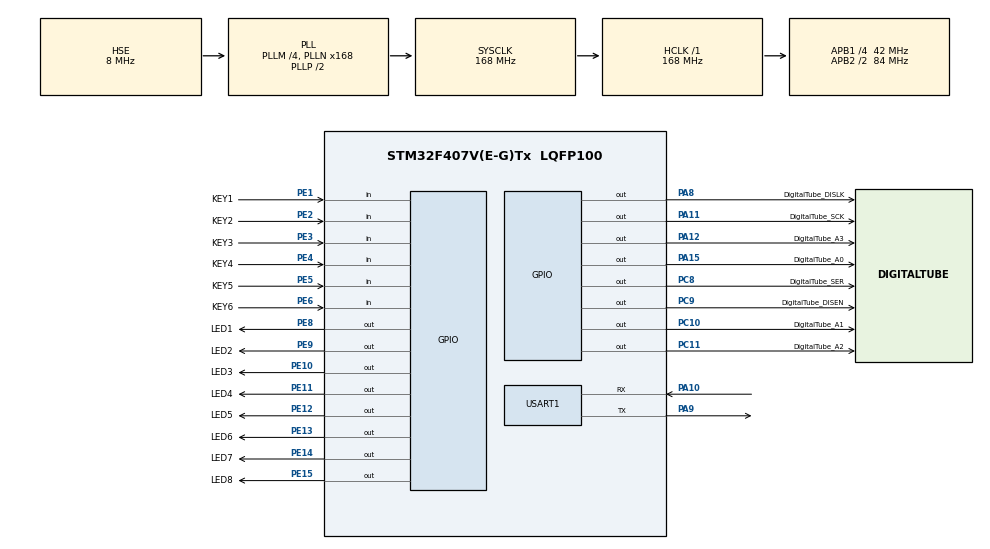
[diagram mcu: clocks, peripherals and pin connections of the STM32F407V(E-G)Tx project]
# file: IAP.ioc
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FREERTOS.HEAP_NUMBER=3
FREERTOS.Tasks01=LedTask,24,256,StartLedTask,Default,NULL,Dynamic,NULL,NULL;KeyTask,24,256,StartKeyTask,Default,NULL,Dynamic,NULL,NULL;UartTask,24,256,StartUartTask,Default,NULL,Dynamic,NULL,NULL
FREERTOS.configENABLE_FPU=0
Mcu.Family=STM32F4
Mcu.Name=STM32F407V(E-G)Tx
Mcu.Package=LQFP100
NVIC.PriorityGroup=NVIC_PRIORITYGROUP_4
NVIC.TIM8_TRG_COM_TIM14_IRQn=true\:0\:0\:false\:false\:true\:false\:false\:true
NVIC.TimeBase=TIM8_TRG_COM_TIM14_IRQn
NVIC.TimeBaseIP=TIM14
NVIC.USART1_IRQn=true\:5\:0\:false\:false\:true\:true\:true\:true
PA10.Mode=Asynchronous
PA10.Signal=USART1_RX
PA11.GPIO_Label=DigitalTube_SCK
PA11.Signal=GPIO_Output
PA12.GPIO_Label=DigitalTube_A3
PA12.Signal=GPIO_Output
PA13.Mode=Serial_Wire
PA13.Signal=SYS_JTMS-SWDIO
PA14.Mode=Serial_Wire
PA14.Signal=SYS_JTCK-SWCLK
PA15.GPIO_Label=DigitalTube_A0
PA15.Signal=GPIO_Output
PA8.GPIO_Label=DigitalTube_DISLK
PA8.Signal=GPIO_Output
PA9.Mode=Asynchronous
PA9.Signal=USART1_TX
PC10.GPIO_Label=DigitalTube_A1
PC10.Signal=GPIO_Output
PC11.GPIO_Label=DigitalTube_A2
PC11.Signal=GPIO_Output
PC8.GPIO_Label=DigitalTube_SER
PC8.Signal=GPIO_Output
PC9.GPIO_Label=DigitalTube_DISEN
PC9.Signal=GPIO_Output
PE1.GPIO_Label=KEY1
PE1.GPIO_PuPd=GPIO_PULLUP
PE1.Signal=GPIO_Input
PE10.GPIO_Label=LED3
PE10.PinState=GPIO_PIN_SET
PE10.Signal=GPIO_Output
PE11.GPIO_Label=LED4
PE11.PinState=GPIO_PIN_SET
PE11.Signal=GPIO_Output
PE12.GPIO_Label=LED5
PE12.PinState=GPIO_PIN_SET
PE12.Signal=GPIO_Output
PE13.GPIO_Label=LED6
PE13.PinState=GPIO_PIN_SET
PE13.Signal=GPIO_Output
PE14.GPIO_Label=LED7
PE14.PinState=GPIO_PIN_SET
PE14.Signal=GPIO_Output
PE15.GPIO_Label=LED8
PE15.PinState=GPIO_PIN_SET
PE15.Signal=GPIO_Output
PE2.GPIO_Label=KEY2
PE2.GPIO_PuPd=GPIO_PULLUP
PE2.Signal=GPIO_Input
PE3.GPIO_Label=KEY3
PE3.GPIO_PuPd=GPIO_PULLUP
PE3.Signal=GPIO_Input
PE4.GPIO_Label=KEY4
PE4.GPIO_PuPd=GPIO_PULLUP
PE4.Signal=GPIO_Input
PE5.GPIO_Label=KEY5
PE5.GPIO_PuPd=GPIO_PULLDOWN
PE5.Signal=GPIO_Input
PE6.GPIO_Label=KEY6
PE6.GPIO_PuPd=GPIO_PULLDOWN
PE6.Signal=GPIO_Input
PE8.GPIO_Label=LED1
PE8.PinState=GPIO_PIN_SET
PE8.Signal=GPIO_Output
PE9.GPIO_Label=LED2
PE9.PinState=GPIO_PIN_SET
PE9.Signal=GPIO_Output
PH0-OSC_IN.Mode=HSE-External-Oscillator
PH0-OSC_IN.Signal=RCC_OSC_IN
PH1-OSC_OUT.Mode=HSE-External-Oscillator
PH1-OSC_OUT.Signal=RCC_OSC_OUT
ProjectManager.HeapSize=0x200
ProjectManager.StackSize=0x400
ProjectManager.TargetToolchain=STM32CubeIDE
RCC.48MHZClocksFreq_Value=84000000
RCC.AHBFreq_Value=168000000
RCC.APB1CLKDivider=RCC_HCLK_DIV4
RCC.APB1Freq_Value=42000000
RCC.APB1TimFreq_Value=84000000
RCC.APB2CLKDivider=RCC_HCLK_DIV2
RCC.APB2Freq_Value=84000000
RCC.APB2TimFreq_Value=168000000
RCC.CortexFreq_Value=168000000
RCC.HCLKFreq_Value=168000000
RCC.HSE_VALUE=8000000
RCC.HSI_VALUE=16000000
RCC.LSE_VALUE=32768
RCC.PLLM=4
RCC.PLLN=168
RCC.PLLSourceVirtual=RCC_PLLSOURCE_HSE
RCC.SYSCLKFreq_VALUE=168000000
RCC.SYSCLKSource=RCC_SYSCLKSOURCE_PLLCLK
RCC.VCOOutputFreq_Value=336000000
USART1.VirtualMode=VM_ASYNC
VP_FREERTOS_VS_CMSIS_V2.Mode=CMSIS_V2
VP_SYS_VS_tim14.Mode=TIM14
board=custom

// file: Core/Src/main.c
/* USER CODE BEGIN Header */
/**
  ******************************************************************************
  * @file           : main.c
  * @brief          : Main program body
  ******************************************************************************
  * @attention
  *
  * <h2><center>&copy; Copyright (c) 2020 STMicroelectronics.
  * All rights reserved.</center></h2>
  *
  * This software component is licensed by ST under Ultimate Liberty license
  * SLA0044, the "License"; You may not use this file except in compliance with
  * the License. You may obtain a copy of the License at:
  *                             www.st.com/SLA0044
  *
  ******************************************************************************
  */
/* USER CODE END Header */
#include "main.h"
#include "cmsis_os.h"
#include "usart.h"
#include "gpio.h"

/* USER CODE BEGIN Includes */
#include <stdio.h>
/* USER CODE END Includes */

void SystemClock_Config(void);
void MX_FREERTOS_Init(void);

int main(void)
{

  /* MCU Configuration--------------------------------------------------------*/

  /* Reset of all peripherals, Initializes the Flash interface and the Systick. */
  HAL_Init();

  /* Configure the system clock */
  SystemClock_Config();

  /* Initialize all configured peripherals */
  MX_GPIO_Init();
  MX_USART1_UART_Init();

  /* Init scheduler */
  osKernelInitialize();  /* Call init function for freertos objects (in freertos.c) */
  MX_FREERTOS_Init();
  /* Start scheduler */
  osKernelStart();

  /* We should never get here as control is now taken by the scheduler */
  /* Infinite loop */
    while (1) {

    }
}

void SystemClock_Config(void)
{
  RCC_OscInitTypeDef RCC_OscInitStruct = {0};
  RCC_ClkInitTypeDef RCC_ClkInitStruct = {0};

  /** Configure the main internal regulator output voltage
  */
  __HAL_RCC_PWR_CLK_ENABLE();
  __HAL_PWR_VOLTAGESCALING_CONFIG(PWR_REGULATOR_VOLTAGE_SCALE1);
  /** Initializes the RCC Oscillators according to the specified parameters
  * in the RCC_OscInitTypeDef structure.
  */
  RCC_OscInitStruct.OscillatorType = RCC_OSCILLATORTYPE_HSE;
  RCC_OscInitStruct.HSEState = RCC_HSE_ON;
  RCC_OscInitStruct.PLL.PLLState = RCC_PLL_ON;
  RCC_OscInitStruct.PLL.PLLSource = RCC_PLLSOURCE_HSE;
  RCC_OscInitStruct.PLL.PLLM = 4;
  RCC_OscInitStruct.PLL.PLLN = 168;
  RCC_OscInitStruct.PLL.PLLP = RCC_PLLP_DIV2;
  RCC_OscInitStruct.PLL.PLLQ = 4;
  if (HAL_RCC_OscConfig(&RCC_OscInitStruct) != HAL_OK)
  {
    Error_Handler();
  }
  /** Initializes the CPU, AHB and APB buses clocks
  */
  RCC_ClkInitStruct.ClockType = RCC_CLOCKTYPE_HCLK|RCC_CLOCKTYPE_SYSCLK
                              |RCC_CLOCKTYPE_PCLK1|RCC_CLOCKTYPE_PCLK2;
  RCC_ClkInitStruct.SYSCLKSource = RCC_SYSCLKSOURCE_PLLCLK;
  RCC_ClkInitStruct.AHBCLKDivider = RCC_SYSCLK_DIV1;
  RCC_ClkInitStruct.APB1CLKDivider = RCC_HCLK_DIV4;
  RCC_ClkInitStruct.APB2CLKDivider = RCC_HCLK_DIV2;

  if (HAL_RCC_ClockConfig(&RCC_ClkInitStruct, FLASH_LATENCY_5) != HAL_OK)
  {
    Error_Handler();
  }
}

 /**
  * @brief  Period elapsed callback in non blocking mode
  * @note   This function is called  when TIM14 interrupt took place, inside
  * HAL_TIM_IRQHandler(). It makes a direct call to HAL_IncTick() to increment
  * a global variable "uwTick" used as application time base.
  * @param  htim : TIM handle
  * @retval None
  */
void HAL_TIM_PeriodElapsedCallback(TIM_HandleTypeDef *htim)
{
  if (htim->Instance == TIM14) {
    HAL_IncTick();
  }
}

void Error_Handler(void)
{
    __disable_irq();
    while (1) {
    }
}

/************************ (C) COPYRIGHT STMicroelectronics *****END OF FILE****/

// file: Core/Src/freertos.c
/* USER CODE BEGIN Header */
/**
  ******************************************************************************
  * File Name          : freertos.c
  * Description        : Code for freertos applications
  ******************************************************************************
  * @attention
  *
  * <h2><center>&copy; Copyright (c) 2020 STMicroelectronics.
  * All rights reserved.</center></h2>
  *
  * This software component is licensed by ST under Ultimate Liberty license
  * SLA0044, the "License"; You may not use this file except in compliance with
  * the License. You may obtain a copy of the License at:
  *                             www.st.com/SLA0044
  *
  ******************************************************************************
  */
/* USER CODE END Header */

#include "FreeRTOS.h"
#include "task.h"
#include "main.h"
#include "cmsis_os.h"

/* USER CODE BEGIN Includes */
#include <stdio.h>
#include "LED.h"
#include "InFlash.h"
#include "usart.h"
/* USER CODE END Includes */

/* USER CODE BEGIN PD */
#define USER_APP_ADDR ADDR_FLASH_SECTOR_5
/* USER CODE END PD */

/* USER CODE BEGIN Variables */
extern uint32_t recv_tick;
extern uint8_t rx1_buf[MAX_RECV_LEN];
extern uint8_t *pBuf;

uint32_t update_tick = 0;
/* USER CODE END Variables */
/* Definitions for LedTask */
osThreadId_t LedTaskHandle;
const osThreadAttr_t LedTask_attributes = {
  .name = "LedTask",
  .priority = (osPriority_t) osPriorityNormal,
  .stack_size = 256 * 4
};
/* Definitions for KeyTask */
osThreadId_t KeyTaskHandle;
const osThreadAttr_t KeyTask_attributes = {
  .name = "KeyTask",
  .priority = (osPriority_t) osPriorityNormal,
  .stack_size = 256 * 4
};
/* Definitions for UartTask */
osThreadId_t UartTaskHandle;
const osThreadAttr_t UartTask_attributes = {
  .name = "UartTask",
  .priority = (osPriority_t) osPriorityNormal,
  .stack_size = 256 * 4
};

void StartLedTask(void *argument);
void StartKeyTask(void *argument);
void StartUartTask(void *argument);

void MX_FREERTOS_Init(void); /* (MISRA C 2004 rule 8.1) */

void MX_FREERTOS_Init(void) {

  /* Create the thread(s) */
  /* creation of LedTask */
  LedTaskHandle = osThreadNew(StartLedTask, NULL, &LedTask_attributes);

  /* creation of KeyTask */
  KeyTaskHandle = osThreadNew(StartKeyTask, NULL, &KeyTask_attributes);

  /* creation of UartTask */
  UartTaskHandle = osThreadNew(StartUartTask, NULL, &UartTask_attributes);

}

void StartLedTask(void *argument)
{
  /* USER CODE BEGIN StartLedTask */
    uint8_t led_id = 1;
    /* Infinite loop */
    for (;;) {
        turnoffLED();
        selectLED(led_id);
        if (led_id == 8) {
            led_id = 1;
        } else {
            led_id++;
        }
        osDelay(50);
    }
  /* USER CODE END StartLedTask */
}

void StartKeyTask(void *argument)
{
  /* USER CODE BEGIN StartKeyTask */
    uint8_t key_state;

//    HAL_Delay(100);
//    printf("\r\nBootloader... Press K5 to update app.\r\n");
    /* Infinite loop */
    for (;;) {
        //扫描按键
        key_state = 0;
        if (HAL_GPIO_ReadPin(KEY1_GPIO_Port, KEY1_Pin) == GPIO_PIN_RESET) {
            osDelay(10);
            if (HAL_GPIO_ReadPin(KEY1_GPIO_Port, KEY1_Pin) == GPIO_PIN_RESET) {
                key_state = 1;
            }
            while (HAL_GPIO_ReadPin(KEY1_GPIO_Port, KEY1_Pin) == GPIO_PIN_RESET) {
                osDelay(1);
            }
        } else if (HAL_GPIO_ReadPin(KEY2_GPIO_Port, KEY2_Pin) == GPIO_PIN_RESET) {
            osDelay(10);
            if (HAL_GPIO_ReadPin(KEY2_GPIO_Port, KEY2_Pin) == GPIO_PIN_RESET) {
                key_state = 2;
            }
            while (HAL_GPIO_ReadPin(KEY2_GPIO_Port, KEY2_Pin) == GPIO_PIN_RESET) {
                osDelay(1);
            }
        } else if (HAL_GPIO_ReadPin(KEY3_GPIO_Port, KEY3_Pin) == GPIO_PIN_RESET) {
            osDelay(10);
            if (HAL_GPIO_ReadPin(KEY3_GPIO_Port, KEY3_Pin) == GPIO_PIN_RESET) {
                key_state = 3;
            }
            while (HAL_GPIO_ReadPin(KEY3_GPIO_Port, KEY3_Pin) == GPIO_PIN_RESET) {
                osDelay(1);
            }
        } else if (HAL_GPIO_ReadPin(KEY4_GPIO_Port, KEY4_Pin) == GPIO_PIN_RESET) {
            osDelay(10);
            if (HAL_GPIO_ReadPin(KEY4_GPIO_Port, KEY4_Pin) == GPIO_PIN_RESET) {
                key_state = 4;
            }
            while (HAL_GPIO_ReadPin(KEY4_GPIO_Port, KEY4_Pin) == GPIO_PIN_RESET) {
                osDelay(1);
            }
        } else if (HAL_GPIO_ReadPin(KEY5_GPIO_Port, KEY5_Pin) == GPIO_PIN_SET) {
            osDelay(10);
            if (HAL_GPIO_ReadPin(KEY5_GPIO_Port, KEY5_Pin) == GPIO_PIN_SET) {
                key_state = 5;
            }
            while (HAL_GPIO_ReadPin(KEY5_GPIO_Port, KEY5_Pin) == GPIO_PIN_SET) {
                osDelay(1);
            }
        } else if (HAL_GPIO_ReadPin(KEY6_GPIO_Port, KEY6_Pin) == GPIO_PIN_SET) {
            osDelay(10);
            if (HAL_GPIO_ReadPin(KEY6_GPIO_Port, KEY6_Pin) == GPIO_PIN_SET) {
                key_state = 6;
            }
            while (HAL_GPIO_ReadPin(KEY6_GPIO_Port, KEY6_Pin) == GPIO_PIN_SET) {
                osDelay(1);
            }
        }

        //按键触发控制
        switch (key_state) {
            case 1://跳转程序
                JumpAPP(ADDR_FLASH_SECTOR_6);//跳转到0x08040000执行
                break;

            case 2:
                break;

            case 3:
                break;

            case 4:
                break;

            case 5://开始更新
                HAL_UART_Receive_IT(&huart1, pBuf, 1);
                update_tick = osKernelGetTickCount();
                printf("Start receive bin file.\r\n");
                break;

            case 6:
                break;

            default:
                break;
        }
        osDelay(1);
    }
  /* USER CODE END StartKeyTask */
}

void StartUartTask(void *argument)
{
  /* USER CODE BEGIN StartUartTask */
    uint32_t tick = osKernelGetTickCount();
    /* Infinite loop */
    for (;;) {
        if (recv_tick > 0 && osKernelGetTickCount() - recv_tick >= 500) {
            recv_tick = 0;
            update_tick = 0;

            HAL_UART_AbortReceive_IT(&huart1);
            printf("Receive end.\r\n");
            //写入APP
            WriteFlash(rx1_buf, (uint8_t *)USER_APP_ADDR, pBuf - rx1_buf);
            pBuf = rx1_buf;
            //跳转APP
            JumpAPP(USER_APP_ADDR);
        }

        if (update_tick > 0 && osKernelGetTickCount() - update_tick >= 10 * 1000){
            update_tick = 0;

            HAL_UART_AbortReceive_IT(&huart1);
            printf("Exit update mode after 10 seconds.\r\n");
            tick = osKernelGetTickCount();
        } else if (update_tick == 0 && osKernelGetTickCount() - tick >= 10 * 1000){
            printf("Auto jump to APP\r\n");
            JumpAPP(USER_APP_ADDR);
        }
        osDelay(1);
    }
  /* USER CODE END StartUartTask */
}

/************************ (C) COPYRIGHT STMicroelectronics *****END OF FILE****/
